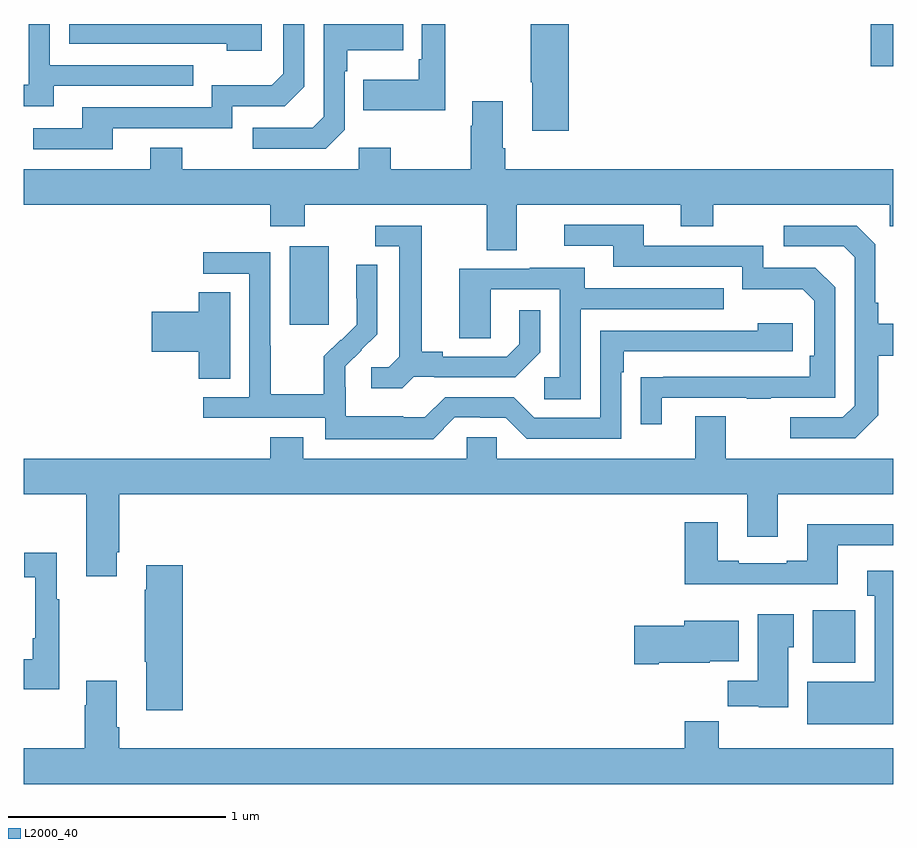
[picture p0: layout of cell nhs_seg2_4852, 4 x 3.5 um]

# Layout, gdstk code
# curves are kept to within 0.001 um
import gdstk
lib = gdstk.Library(unit=1e-6, precision=1e-09)
def R(c, l, rs):  # rectangles x0, y0, x1, y1
    for r in rs: c.add(gdstk.rectangle(r[:2], r[2:], *l))
def P(c, l, *ps):  # polygons
    for p in ps: c.add(gdstk.Polygon(p, *l))
L2000_40 = (2000, 40)

nhs_seg2_4852 = lib.new_cell('nhs_seg2_4852')
R(nhs_seg2_4852, L2000_40, [(378.629,646.862,378.826,647.104), (376.223,648.417,376.402,648.778), (378.896,649.605,379,649.8)])
P(nhs_seg2_4852, L2000_40, [(376.096,649.8),(375.21,649.8),(375.21,649.71),(375.935,649.71),(375.935,649.676),(376.096,649.676)],
  [(376.476,649.314),(376.476,649.583),(376.489,649.583),(376.489,649.679),(376.745,649.679),(376.745,649.8),(376.38,649.8),(376.38,649.374),(376.329,649.323),(376.053,649.323),(376.053,649.227),(376.389,649.227)],
  [(376.939,649.8),(376.83,649.8),(376.83,649.639),(376.818,649.639),(376.818,649.543),(376.561,649.543),(376.561,649.403),(376.939,649.403)],
  [(377.507,649.8),(377.332,649.8),(377.332,649.531),(377.339,649.531),(377.339,649.308),(377.507,649.308)],
  [(375.409,649.32),(375.96,649.32),(375.96,649.422),(376.2,649.422),(376.29,649.512),(376.29,649.8),(376.194,649.8),(376.194,649.572),(376.141,649.519),(375.864,649.519),(375.864,649.416),(375.269,649.416),(375.269,649.32),(375.045,649.32),(375.045,649.224),(375.409,649.224)],
  [(375.139,649.515),(375.779,649.515),(375.779,649.611),(375.12,649.611),(375.12,649.8),(375.024,649.8),(375.024,649.521),(375,649.521),(375,649.421),(375.139,649.421)],
  [(377.269,648.968),(378.023,648.968),(378.023,648.869),(378.171,648.869),(378.171,648.968),(378.984,648.968),(378.984,648.869),(379,648.869),(379,649.132),(377.216,649.132),(377.216,649.228),(377.203,649.228),(377.203,649.444),(377.063,649.444),(377.063,649.331),(377.056,649.331),(377.056,649.132),(376.689,649.132),(376.689,649.231),(376.542,649.231),(376.542,649.132),(375.729,649.132),(375.729,649.231),(375.581,649.231),(375.581,649.132),(375,649.132),(375,648.968),(376.133,648.968),(376.133,648.869),(376.293,648.869),(376.293,648.968),(377.129,648.968),(377.129,648.76),(377.269,648.76)],
  [(377.935,648.081),(378.325,648.081),(378.325,648.076),(378.437,648.076),(378.437,648.081),(378.732,648.081),(378.732,648.588),(378.642,648.678),(378.402,648.678),(378.402,648.78),(377.851,648.78),(377.851,648.876),(377.487,648.876),(377.487,648.78),(377.711,648.78),(377.711,648.684),(378.306,648.684),(378.306,648.581),(378.583,648.581),(378.636,648.528),(378.636,648.274),(378.616,648.274),(378.616,648.177),(377.839,648.176),(377.839,647.958),(377.935,647.958)],
  [(378.931,648.001),(378.931,648.274),(379,648.274),(379,648.421),(378.931,648.421),(378.931,648.517),(378.918,648.517),(378.918,648.786),(378.831,648.873),(378.495,648.873),(378.495,648.777),(378.771,648.777),(378.822,648.726),(378.822,648.045),(378.768,647.991),(378.525,647.991),(378.525,647.895),(378.825,647.895)],
  [(376.794,648.177),(376.888,648.177),(376.888,648.174),(377.26,648.174),(377.376,648.29),(377.376,648.484),(377.279,648.484),(377.279,648.327),(377.222,648.27),(376.927,648.27),(376.927,648.293),(376.831,648.293),(376.831,648.873),(376.617,648.873),(376.617,648.777),(376.727,648.777),(376.727,648.269),(376.68,648.222),(376.599,648.222),(376.599,648.125),(376.742,648.125)],
  [(376.983,647.991),(377.099,647.991),(377.099,647.988),(377.217,647.988),(377.313,647.892),(377.748,647.892),(377.748,648.197),(377.761,648.197),(377.761,648.294),(378.538,648.294),(378.538,648.424),(378.377,648.424),(378.377,648.39),(377.652,648.39),(377.652,647.988),(377.349,647.988),(377.253,648.084),(376.938,648.084),(376.845,647.991),(376.745,647.991),(376.745,647.995),(376.482,647.995),(376.482,648.129),(376.48,648.129),(376.48,648.226),(376.626,648.374),(376.626,648.692),(376.53,648.692),(376.53,648.538),(376.532,648.538),(376.532,648.416),(376.461,648.345),(376.458,648.348),(376.381,648.271),(376.381,648.097),(376.137,648.097),(376.137,648.32),(376.134,648.32),(376.134,648.75),(375.825,648.75),(375.825,648.651),(376.038,648.651),(376.038,648.084),(375.825,648.084),(375.825,647.988),(376.386,647.988),(376.386,647.891),(376.883,647.891)],
  [(377.562,648.489),(378.221,648.489),(378.221,648.585),(377.581,648.585),(377.581,648.679),(377.327,648.679),(377.327,648.675),(377.003,648.675),(377.003,648.355),(377.148,648.355),(377.148,648.579),(377.466,648.579),(377.466,648.174),(377.394,648.174),(377.394,648.073),(377.562,648.073)],
  [(375.949,648.566),(375.806,648.566),(375.806,648.476),(375.588,648.476),(375.588,648.293),(375.806,648.293),(375.806,648.169),(375.949,648.169)],
  [(375.427,647.371),(375.44,647.371),(375.44,647.636),(378.329,647.636),(378.329,647.442),(378.469,647.442),(378.469,647.636),(379,647.636),(379,647.8),(378.229,647.8),(378.229,647.995),(378.089,647.995),(378.089,647.8),(377.175,647.8),(377.175,647.898),(377.037,647.898),(377.037,647.8),(376.285,647.8),(376.285,647.899),(376.133,647.899),(376.133,647.8),(375,647.8),(375,647.636),(375.287,647.636),(375.287,647.259),(375.427,647.259)],
  [(378.745,647.403),(379,647.403),(379,647.5),(378.605,647.5),(378.605,647.332),(378.509,647.332),(378.509,647.319),(378.289,647.319),(378.289,647.332),(378.193,647.332),(378.193,647.509),(378.041,647.509),(378.041,647.222),(378.745,647.222)],
  [(375.163,647.155),(375.151,647.155),(375.151,647.368),(375.003,647.368),(375.003,647.255),(375.054,647.255),(375.054,646.975),(375.042,646.975),(375.042,646.879),(375,646.879),(375,646.739),(375.163,646.739)],
  [(375.731,647.311),(375.563,647.311),(375.563,647.198),(375.556,647.198),(375.556,646.867),(375.563,646.867),(375.563,646.644),(375.731,646.644)],
  [(379,647.284),(378.881,647.284),(378.881,647.171),(378.914,647.171),(378.914,646.774),(378.605,646.774),(378.605,646.58),(379,646.58)],
  [(378.517,646.932),(378.541,646.932),(378.541,647.086),(378.377,647.086),(378.377,646.78),(378.238,646.78),(378.238,646.662),(378.381,646.662),(378.381,646.658),(378.517,646.658)],
  [(377.92,646.862),(378.156,646.862),(378.156,646.868),(378.289,646.868),(378.289,647.056),(378.038,647.056),(378.038,647.033),(377.808,647.033),(377.808,646.855),(377.92,646.855)],
  [(379,646.468),(378.197,646.468),(378.197,646.592),(378.041,646.592),(378.041,646.468),(375.44,646.468),(375.44,646.564),(375.427,646.564),(375.427,646.78),(375.287,646.78),(375.287,646.667),(375.28,646.667),(375.28,646.468),(375,646.468),(375,646.304),(379,646.304)])

lib.write_gds('nhs_seg2_4852.gds')
